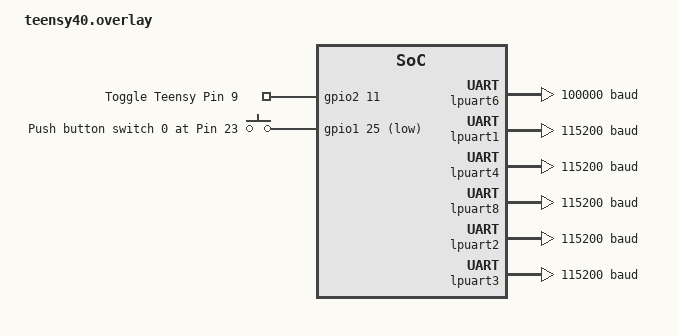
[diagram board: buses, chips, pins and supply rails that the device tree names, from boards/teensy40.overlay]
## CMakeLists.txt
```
# SPDX-License-Identifier: Apache-2.0

cmake_minimum_required(VERSION 3.20.0)

set(DTC_OVERLAY_FILE "${CMAKE_CURRENT_SOURCE_DIR}/boards/teensy40.overlay")

find_package(Zephyr REQUIRED HINTS $ENV{ZEPHYR_BASE})
project(simple_drone)

include_directories(${CMAKE_CURRENT_SOURCE_DIR}/src)

target_sources(app PRIVATE src/main.c)
target_sources(app PRIVATE src/led.c)
#target_sources(app PRIVATE src/pin.c)
#target_sources(app PRIVATE src/button.c)
#target_sources(app PRIVATE src/uart.c)
#target_sources(app PRIVATE src/uart4.c)
```

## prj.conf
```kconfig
# enable logging and GPIO
CONFIG_LOG=y
CONFIG_GPIO=y

#CONFIG_BOARD_TEENSY40=y

# Set following configs for USB and UART
#CONFIG_USB=y
CONFIG_USB_DEVICE_STACK=y
#CONFIG_USB_UART_CONSOLE=y
CONFIG_USB_DEVICE_PRODUCT="Zephyr first steps"
CONFIG_USB_DRIVER_LOG_LEVEL_ERR=y
CONFIG_UART_INTERRUPT_DRIVEN=y
CONFIG_UART_LINE_CTRL=y

# Floating Point Options
CONFIG_FPU=y
CONFIG_FPU_SHARING=y

# enable POSIX date and time api
#CONFIG_POSIX_CLOCK=y

# enable the function sys_reboot()
CONFIG_REBOOT=y

CONFIG_UART_INTERRUPT_DRIVEN=y

# For using the shell
CONFIG_SHELL_PROMPT_UART="teensy:~$ "
CONFIG_PRINTK=y
#CONFIG_SHELL=y
CONFIG_SHELL_BACKEND_SERIAL=y
#CONFIG_UART_SHELL_ON_DEV_NAME="UART_6"
#CONFIG_UART_SHELL_ON_DEV_NAME="lpuart6"
CONFIG_SHELL_LOG_BACKEND=y
#CONFIG_OBJECT_TRACING=y
CONFIG_THREAD_MONITOR=y
CONFIG_INIT_STACKS=y
CONFIG_BOOT_BANNER=n
CONFIG_THREAD_NAME=y
CONFIG_SHELL_HISTORY=y
#CONFIG_SHELL_STACK_SIZE=2048
CONFIG_SHELL_CMD_BUFF_SIZE=128
CONFIG_SHELL_WILDCARD=y
# CONFIG_SHELL_DYNAMIC_CMDS=n
CONFIG_SHELL_VT100_COLORS=y
CONFIG_SHELL_HELP_ON_WRONG_ARGUMENT_COUNT=y
CONFIG_SHELL_STATS=y
CONFIG_SHELL_CMDS=y
CONFIG_SHELL_HELP=y
CONFIG_SHELL_TAB=y
CONFIG_SHELL_METAKEYS=y
CONFIG_SHELL_LOG_BACKEND=y
#CONFIG_KERNEL_SHELL=y
CONFIG_DEVICE_SHELL=y
CONFIG_DATE_SHELL=y
CONFIG_CBPRINTF_NANO=y
CONFIG_SENSOR_SHELL=n
CONFIG_SHELL_CMDS_SELECT=y

######################
# enable to use thread names
CONFIG_THREAD_NAME=y

CONFIG_SERIAL=y                  # Enable serial driver
CONFIG_UART_CONSOLE=y            # Enable UART console


###

CONFIG_CONSOLE=y
# Enable printk support for console output
CONFIG_PRINTK=y
CONFIG_STDOUT_CONSOLE=y
# Optional: increase log buffer size
#CONFIG_LOG_BUFFER_SIZE=1024

# Logging
CONFIG_LOG_DEFAULT_LEVEL=3
CONFIG_LOG_BACKEND_UART=y

# Threads
CONFIG_MAIN_THREAD_PRIORITY=0
```

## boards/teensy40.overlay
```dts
//working
//&lpuart6 {
//    status = "okay";
//    current-speed = <100000>;   /* SBUS uses 100k baud */
//    parity = "even";
//    stop-bits = "2";
//    pinctrl-0 = <&pinctrl_lpuart6 &pinctrl_lpuart6>; /* default + sleep */
//    pinctrl-names = "default", "sleep";
//};

//&pinctrl {
//    pinctrl_lpuart6: lpuart6grp {
//        fsl,pins = <
//            0x0003 0x0000   /* mux = 3 (LPUART6_RX), pad = 0 (default) */
//        >;
//    };
//};

//working eigher
&lpuart6 {
    status = "okay";
    current-speed = <100000>;   /* SBUS uses 100k baud */
    parity = "even";
    stop-bits = "2";
    pinctrl-0 = <&pinctrl_lpuart6 &pinctrl_lpuart6>; /* default + sleep */
    pinctrl-names = "default", "sleep";
    label = "UART_6";
};

&pinctrl {
    pinctrl_lpuart6: lpuart6grp {
        fsl,pins = <
            0x0003 0x0000   /* mux = 3 (LPUART6_RX), pad = 0 (default) */
        >;
    };
};

/* ===========================
 * LPUART6 for SBUS input (pin 15)
 * =========================== */
//&lpuart6 {
//    status = "okay";
//    current-speed = <100000>;       /* SBUS baud */
//    parity = "even";
//    stop-bits = "2";                /* must be string */
//    pinctrl-0 = <&pinctrl_lpuart6>;
//    pinctrl-names = "default";
//};

/* ===========================
 * LPUART1 for UART console (TX only)
 * =========================== */
//not working
//&lpuart1 {
//    status = "okay";
//    current-speed = <115200>;
//    pinctrl-0 = <&pinctrl_lpuart1>;
//    pinctrl-names = "default";
//};

/* ===========================
 * Pinctrl definitions
 * =========================== */
//&pinctrl {
//    pinctrl_lpuart6: lpuart6grp {
//        fsl,pins = <MXRT1062_IOMUXC_GPIO_AD_B1_03_LPUART6_RX 0x10>;
//    };

//    pinctrl_lpuart1: lpuart1grp {
//        fsl,pins = <MXRT1062_IOMUXC_UART1_TX 0x10>;
//    };
//};

//&pinctrl {
//    pinctrl_lpuart6: lpuart6grp {
//        fsl,pins = <3 6>;  /* GPIO_AD_B1_03, function 6 = LPUART6_RX */
//    };
//};

/* ===========================
 * Onboard LED
 * =========================== */
//&gpio1 {
//    led: led0 {
//        gpios = <&gpio1 10 GPIO_ACTIVE_HIGH>;  /* adjust pin if needed */
//        label = "LED0";
//    };
//};


/*
 * Add an alias for the LED.
 * This makes the LED available to the application as a simple alias.
 */
/// {
//    aliases {
//        led0 = &my_led;
//    };
//};

/*
 * Define the standard 'gpio-leds' node.
 * This node contains the definition of your LED.
 */
//&soc {
/// {
//    leds {
//        compatible = "gpio-leds";
//        my_led: led_0 {
//            // The Teensy 4.0 onboard LED is on GPIO_B0_18, which is the 18th pin on GPIO port 4.
//            // The GPIO controller node (&gpio4) is defined in the base DTS file.
//            // Replace <18> with the correct pin number if using a different GPIO.
//            gpios = <&gpio4 18 GPIO_ACTIVE_HIGH>;
//            label = "My LED";
//        };
//    };
//};


/ {
	aliases {
		toggle = &toggle_gpio;
		sw0 = &button0;
	};

	app-gpios {
		compatible = "gpio-keys";
		toggle_gpio: toggle-gpio {
			gpios = <&gpio2 11 GPIO_ACTIVE_HIGH>;
			label = "Toggle Teensy Pin 9";
		};
		button0: button_0 {
			gpios = < &gpio1 25 GPIO_ACTIVE_LOW >;
			label = "Push button switch 0 at Pin 23";
		};
	};
};


&lpuart1 {
	status = "okay";
	current-speed = <115200>; /* Set UART baud rate */
	//tx-pin = <1>;            /* TX pin number */
	//rx-pin = <0>;            /* RX pin number */
	label = "UART_1";
};

&lpuart4 {
	status = "okay";
	current-speed = <115200>;
	label = "UART_4";
};


&lpuart8 {
	status = "okay";
	current-speed = <115200>;
	label = "UART_8";
};

// That will make UART2 available in your app at pins 7 (RX) and 8 (TX).
&lpuart2 {
	status = "okay";
	current-speed = <115200>;
	label = "UART_2";
};

// LPUART3_TX: Pin 14
// LPUART3_RX: Pin 15
&lpuart3 {
	status = "okay";
	current-speed = <115200>;
	label = "UART_3";
};
```

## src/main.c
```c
/*
 * Copyright (c) 2016 Intel Corporation
 *
 * SPDX-License-Identifier: Apache-2.0
 */

#include <stdio.h>
#include <zephyr/kernel.h>
#include <zephyr/drivers/gpio.h>
#include <zephyr/logging/log.h>

#include <zephyr/devicetree.h>


#include <zephyr/device.h>
#include <zephyr/drivers/uart.h>
#include <zephyr/device.h>


#include <zephyr/sys/printk.h>

#include <zephyr/drivers/uart.h>
#include <zephyr/usb/usb_device.h>
#include <string.h>
#include <stdbool.h>

#include "globals.h"


/* size of stack area used by each thread */
#define STACKSIZE 1024
#define UART_BUFFER_SIZE 128       // Software buffer size for UART
#define CMD_BUFFER_SIZE 64         // Command buffer size

/*** Constants **********************************************************************/
#define LOG_MODULE_NAME sys
//LOG_MODULE_REGISTER(main);
LOG_MODULE_REGISTER(LOG_MODULE_NAME, LOG_LEVEL_DBG);

struct k_msgq data_message_q;

#define UART_DEVICE_NODE DT_NODELABEL(lpuart6)
const struct device *uart_dev = DEVICE_DT_GET(UART_DEVICE_NODE);


/* 1000 msec = 1 sec */
#define SLEEP_TIME_MS   100
#define SLEEPTIME 500

/* scheduling priority used by each thread */
#define PRIORITY 7

long sleepTime = 100;
static bool sw = false;

/* The devicetree node identifier for the "led0" alias. */
//#define LED0_NODE DT_ALIAS(led0)
#define LED0_NODE DT_ALIAS(led0)
static const struct gpio_dt_spec led = GPIO_DT_SPEC_GET_OR(LED0_NODE, gpios, {0});

/* SBUS UART */
#define SBUS_UART_NODE DT_NODELABEL(lpuart3)
static const struct device *sbus_uart = DEVICE_DT_GET(SBUS_UART_NODE);
/* SBUS buffer (25 bytes) */
#define SBUS_FRAME_SIZE 25
static uint8_t sbus_buf[SBUS_FRAME_SIZE];

#if DT_NODE_HAS_STATUS(LED0_NODE, okay)
#define LED0	DT_GPIO_LABEL(LED0_NODE, gpios)
#define PIN	DT_GPIO_PIN(LED0_NODE, gpios)
#define FLAGS	DT_GPIO_FLAGS(LED0_NODE, gpios)
#else
/* A build error here means your board isn't set up to blink an LED. */
#error "Unsupported board: led0 devicetree alias is not defined"
#define LED0    ""
// built in led pin 13
#define PIN    13
#define FLAGS    0
#endif

//static const struct gpio_dt_spec led = GPIO_DT_SPEC_GET_OR(LED_NODE, gpios, {0});

/*
 * A build error on this line means your board is unsupported.
 * See the sample documentation for information on how to fix this.
 */
//static const struct gpio_dt_spec led = GPIO_DT_SPEC_GET(LED0_NODE, gpios);


/* SBUS reading thread */
void sbus_thread(void *arg1, void *arg2, void *arg3)
{
    ARG_UNUSED(arg1);
    ARG_UNUSED(arg2);
    ARG_UNUSED(arg3);

    while (!device_is_ready(sbus_uart)) {
        LOG_INF("Waiting for SBUS UART...");
        k_msleep(100);
    }

    LOG_INF("SBUS UART ready");

    while (1) {
        /* Blocking read for a full SBUS frame */
        int n = uart_fifo_read(sbus_uart, sbus_buf, SBUS_FRAME_SIZE);
        if (n == SBUS_FRAME_SIZE) {
            /* Parse channels 0-15 (11 bits each) */
            uint16_t ch[16] = {0};

            ch[0]  = ((sbus_buf[1]     | sbus_buf[2]<<8) & 0x07FF);
            ch[1]  = ((sbus_buf[2]>>3  | sbus_buf[3]<<5) & 0x07FF);
            ch[2]  = ((sbus_buf[3]>>6  | sbus_buf[4]<<2 | sbus_buf[5]<<10) & 0x07FF);
            ch[3]  = ((sbus_buf[5]>>1  | sbus_buf[6]<<7) & 0x07FF);
            ch[4]  = ((sbus_buf[6]>>4  | sbus_buf[7]<<4) & 0x07FF);
            ch[5]  = ((sbus_buf[7]>>7  | sbus_buf[8]<<1 | sbus_buf[9]<<9) & 0x07FF);
            ch[6]  = ((sbus_buf[9]>>2  | sbus_buf[10]<<6) & 0x07FF);
            ch[7]  = ((sbus_buf[10]>>5 | sbus_buf[11]<<3) & 0x07FF);
            ch[8]  = ((sbus_buf[12]    | sbus_buf[13]<<8) & 0x07FF);
            ch[9]  = ((sbus_buf[13]>>3 | sbus_buf[14]<<5) & 0x07FF);
            ch[10] = ((sbus_buf[14]>>6 | sbus_buf[15]<<2 | sbus_buf[16]<<10) & 0x07FF);
            ch[11] = ((sbus_buf[16]>>1 | sbus_buf[17]<<7) & 0x07FF);
            ch[12] = ((sbus_buf[17]>>4 | sbus_buf[18]<<4) & 0x07FF);
            ch[13] = ((sbus_buf[18]>>7 | sbus_buf[19]<<1 | sbus_buf[20]<<9) & 0x07FF);
            ch[14] = ((sbus_buf[20]>>2 | sbus_buf[21]<<6) & 0x07FF);
            ch[15] = ((sbus_buf[21]>>5 | sbus_buf[22]<<3) & 0x07FF);

            //LOG_INF("SBUS channels: %u %u %u %u %u %u %u %u %u %u %u %u %u %u %u %u",
            //    ch[0], ch[1], ch[2], ch[3], ch[4], ch[5], ch[6], ch[7],
            //    ch[8], ch[9], ch[10], ch[11], ch[12], ch[13], ch[14], ch[15]);
            LOG_INF("SBUS channels: %u %u %u", ch[0], ch[1], ch[2]);
        }
        k_msleep(10000); //10
    }
}

K_THREAD_DEFINE(sbus_tid, 1024, sbus_thread, NULL, NULL, NULL, -9, 0, 0);
//K_THREAD_DEFINE(sbus_tid, 1024, sbus_thread, NULL, NULL, NULL, -9, 0, 0);




int main(void)
{
	// int ret;
	// bool led_state = true;

	// if (!gpio_is_ready_dt(&led)) {
	// 	return 0;
	// }

	// ret = gpio_pin_configure_dt(&led, GPIO_OUTPUT_ACTIVE);
	// if (ret < 0) {
	// 	return 0;
	// }

	// while (1) {
	// 	ret = gpio_pin_toggle_dt(&led);
	// 	if (ret < 0) {
	// 		return 0;
	// 	}

	// 	led_state = !led_state;
	// 	printf("LED state: %s\n", led_state ? "ON" : "OFF");
	// 	LOG_INF("LED state: %s", led_state ? "ON" : "OFF");
	// 	k_msleep(SLEEP_TIME_MS);
	// }
	// return 0;

	int ret;
    // led.c added: bool led_state = true;

    if (!gpio_is_ready_dt(&led)) {
        LOG_ERR("LED device not ready");
        return 0;
    }

    ret = gpio_pin_configure_dt(&led, GPIO_OUTPUT_ACTIVE);
    if (ret < 0) {
        LOG_ERR("Failed to configure LED");
        return 0;
    }

    while (1) {
        // led.c added: ret = gpio_pin_toggle_dt(&led);
        if (ret < 0) {
            LOG_ERR("Failed to toggle LED");
            return 0;
        }

        // led.c added: led_state = !led_state;
        // led.c added: LOG_INF("LED state: %s", led_state ? "ON" : "OFF");

        k_msleep(SLEEP_TIME_MS*100);
    }
}
```

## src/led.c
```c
/*
 * Copyright (c) 2016 Intel Corporation
 *
 * SPDX-License-Identifier: Apache-2.0
 */

#include <stdio.h>
#include <zephyr/kernel.h>
#include <zephyr/drivers/gpio.h>

/* 1000 msec = 1 sec */
//#define SLEEP_TIME_MS   75786560
#define SLEEP_TIME_MS   1500

/* The devicetree node identifier for the "led0" alias. */
#define LED0_NODE DT_ALIAS(led0)
#define START_DELAY     500
#define STACK_SIZE      500
#define PRIORITY        -7

/*
 * A build error on this line means your board is unsupported.
 * See the sample documentation for information on how to fix this.
 */
static const struct gpio_dt_spec led = GPIO_DT_SPEC_GET(LED0_NODE, gpios);
int main_f(void);
K_THREAD_DEFINE(uart_id, STACK_SIZE, main_f, NULL, NULL, NULL,
PRIORITY, 0, START_DELAY);

int main_f(void)
{
	int ret;
	bool led_state = true;

	if (!gpio_is_ready_dt(&led)) {
		return 0;
	}

	ret = gpio_pin_configure_dt(&led, GPIO_OUTPUT_ACTIVE);
	if (ret < 0) {
		return 0;
	}

	while (1) {
		ret = gpio_pin_toggle_dt(&led);
		if (ret < 0) {
			return 0;
		}

		led_state = !led_state;
		printf("LED state: %s\n", led_state ? "ON" : "OFF");
		k_msleep(SLEEP_TIME_MS);
	}
	return 0;
}
```

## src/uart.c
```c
/**
 * @file uart.c
 * @author Bernhard Kraemer, Uwe Fechner
 * @brief Uart mirror with message queue.
 * @version 0.2
 * @date 2021-01-02
 * 
 * @copyright Copyright (c) 2020
 * 
 */

/*** Imported Objects ***************************************************************/
//#include <zephyr/zephyr.h>
#include <zephyr/logging/log.h>

#include <zephyr/drivers/uart.h>
#include <globals.h>

/*** Constants **********************************************************************/
#define LOG_MODULE_NAME uart

#define START_DELAY     500
#define STACK_SIZE      500
#define PRIORITY        5

//#define UART_DEV        DT_LABEL(DT_NODELABEL(lpuart4))
//#define UART_DEV        DT_LABEL(DT_NODELABEL(lpuart1))
#define UART_NODE DT_NODELABEL(lpuart4)

/*** Types **************************************************************************/
extern struct k_msgq data_message_q;

/*** Variables **********************************************************************/
static volatile bool tx_done;
static data_message_t tx_msg;

/*** Function Prototypes ************************************************************/
void uart_main_f();
static void uart_fifo_cb(const struct device *dev, void *user_data);

/*** Macros *************************************************************************/
LOG_MODULE_REGISTER(LOG_MODULE_NAME, LOG_LEVEL_DBG);

K_THREAD_DEFINE(uart_id, STACK_SIZE, uart_main_f, NULL, NULL, NULL,
PRIORITY, 0, START_DELAY);

/*** Function implementation ********************************************************/

void uart_main_f()
{
  const struct device *uart_dev = DEVICE_DT_GET(UART_NODE);

    if (!device_is_ready(uart_dev)) {
        printk("UART device not ready!\n");
        return;
    }
   //const struct device *uart;

  // uart = device_get_binding(UART_DEV);
  // if (uart == NULL) {
  //   LOG_ERR("Device binding is NULL");
  //   printk("Hello World from uart! uart == NULL\n");
  //   return;
  // }

  uart_irq_callback_set(uart_dev, uart_fifo_cb);
  uart_irq_rx_enable(uart_dev);

  LOG_INF("UART thread started");

  while (true) {
    /* get a data item */
    k_msgq_get(&data_message_q, &tx_msg, K_FOREVER);
    tx_done=false;
    uart_irq_tx_enable(uart_dev);
    printk("Hello World from uart! while loop\n");
    LOG_INF("Hello World from uart! while loop\n");

        uart_poll_out(uart_dev, 'A');  // send test char
        //k_msleep(1000);
    
    while(!tx_done){}
  }
}

static void uart_fifo_cb(const struct device *dev, void *user_data)
{
  static data_message_t rx_msg;
  static int tx_data_idx;

  uart_irq_update(dev);

  if (uart_irq_tx_ready(dev) && tx_data_idx < tx_msg.length) {
    uart_fifo_fill(dev, &tx_msg.data[tx_data_idx++], 1);

    if (tx_data_idx == tx_msg.length) {
      uart_irq_tx_disable(dev);
      tx_done=true;
      tx_data_idx=0;
    }
  }

  if (uart_irq_rx_ready(dev)) {
    uart_fifo_read(dev, &rx_msg.data[rx_msg.length++], 1);

    if ((rx_msg.data[rx_msg.length] == '\n') || (rx_msg.data[rx_msg.length - 1] == '\r')) {
      LOG_HEXDUMP_DBG((const uint8_t *)&rx_msg.data, rx_msg.length, "Received data:");
      rx_msg.length=0;
    }
  }
}
```

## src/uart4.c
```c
/*
 * Copyright (c) 2016 Intel Corporation
 *
 * SPDX-License-Identifier: Apache-2.0
 */

//#include <zephyr.h>
#include <zephyr/device.h>
#include <zephyr/devicetree.h>
#include <zephyr/drivers/gpio.h>
#include <zephyr/logging/log.h>
#include <zephyr/sys/printk.h>
//#include <zephyr/kernel.h>

//#include <zephyr/drivers/uart.h>
#include <zephyr/drivers/uart.h>
#include <zephyr/usb/usb_device.h>
#include <string.h>
#include <stdbool.h>
//#include <zephyr/device.h>

#include <globals.h>

/*** Function Prototypes ************************************************************/
void uart6_main();
static void serial_cb(const struct device *dev, void *user_data);
static void print_uart(char *buf);

#define UART_BUFFER_SIZE 128       // Software buffer size for UART
#define CMD_BUFFER_SIZE 64         // Command buffer size
//#define LOG_MODULE_NAME uart6
#define LOG_MODULE_NAME uart4

#define START_DELAY     500
#define STACK_SIZE      500
//#define PRIORITY        -5

/*** Constants **********************************************************************/
//#define LOG_MODULE_NAME sys
//LOG_MODULE_REGISTER(LOG_MODULE_NAME, LOG_LEVEL_DBG);

//exteral struct k_msgq data_message_q;

//#define UART_DEVICE_NODE DT_NODELABEL(lpuart6)
//#define UART_DEVICE_NODE DT_NODELABEL(lpuart6)
#define UART_DEVICE_NODE DT_NODELABEL(lpuart4)
static const struct device *uart_dev = DEVICE_DT_GET(UART_DEVICE_NODE);

#define MSG_SIZE 32

/* queue to store up to 10 messages (aligned to 4-byte boundary) */
K_MSGQ_DEFINE(uart_msgq, MSG_SIZE, 10, 4);


/* receive buffer used in UART ISR callback */
static char rx_buf[MSG_SIZE];
static int rx_buf_pos;

/* 1000 msec = 1 sec */
//#define SLEEP_TIME_MS   100

//long sleepTime = 100;

/* size of stack area used by each thread */
#define STACKSIZE 1024

/* scheduling priority used by each thread */
//#define PRIORITY 7
#define PRIORITY -7

/* delay between greetings (in ms) */
#define SLEEPTIME 5000

/*** Macros *************************************************************************/
LOG_MODULE_REGISTER(LOG_MODULE_NAME, LOG_LEVEL_DBG);

K_THREAD_DEFINE(uart6_id, STACK_SIZE, uart6_main, NULL, NULL, NULL, PRIORITY, 0, START_DELAY);

/*** Function implementation ********************************************************/

void uart6_main(void) {

  char tx_buf[MSG_SIZE];

  if (!device_is_ready(uart_dev)) {
    printk("UART device not found!");
    return;
  }

  uart_irq_callback_user_data_set(uart_dev, serial_cb, NULL);
  uart_irq_rx_enable(uart_dev);

  print_uart("Hello! I'm your echo bot.\r\n");
  print_uart("Tell me something and press enter:\r\n");


  while (1) {
    k_msgq_get(&uart_msgq, &tx_buf, K_FOREVER);
    print_uart("Echo: ");
    print_uart(tx_buf);
    print_uart("\r\n");
    //k_msleep(1000);
  }
}


/*
 * Read characters from UART until line end is detected. Afterwards push the
 * data to the message queue.
 */
static void serial_cb(const struct device *dev, void *user_data)
{
  uint8_t c;

  if (!uart_irq_update(uart_dev)) {
    return;
  }

  if (!uart_irq_rx_ready(uart_dev)) {
    return;
  }

  /* read until FIFO empty */
  while (uart_fifo_read(uart_dev, &c, 1) == 1) {
    if ((c == '\n' || c == '\r') && rx_buf_pos > 0) {
      /* terminate string */
      rx_buf[rx_buf_pos] = '\0';

      /* if queue is full, message is silently dropped */
      k_msgq_put(&uart_msgq, &rx_buf, K_NO_WAIT);

      /* reset the buffer (it was copied to the msgq) */
      rx_buf_pos = 0;
    } else if (rx_buf_pos < (sizeof(rx_buf) - 1)) {
      rx_buf[rx_buf_pos++] = c;
    }
    /* else: characters beyond buffer size are dropped */
  }
}

/*
 * Print a null-terminated string character by character to the UART interface
 */
static void print_uart(char *buf)
{
  int msg_len = strlen(buf);

  for (int i = 0; i < msg_len; i++) {
    uart_poll_out(uart_dev, buf[i]);
  }
}
```
